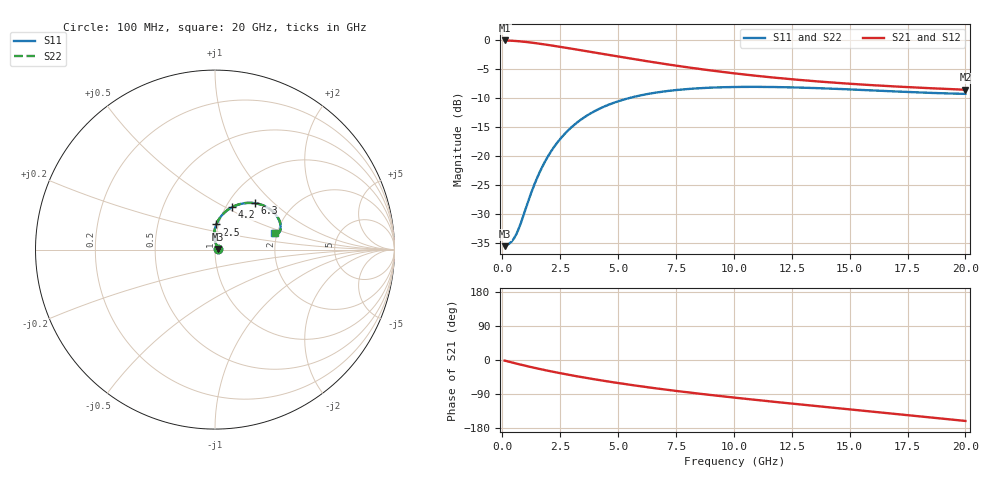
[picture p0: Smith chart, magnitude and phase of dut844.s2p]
! Touchstone file exported from HFSS 2024.1.0
!  File:  C:/UserFiles/LocalFiles/RDL_TSV_Batchsim/temp_RDL_TSV_844_1779920943.aedt
!  Generated:  06:44:06 AM May 28, 2026
!  Design:  RDL_TSV
!  Project:  temp_RDL_TSV_844_1779920943
!  Setup:  Setup1
!  Solution:  Sweep
! Variables:
!  dtsv = 10.81um
!  hbump = 3um
!  htsv = 73.97um
!  ldown = 545.13um
!  lrdl = 120.11um
!  p = 40
!  p1 = 56.52um
!  rhole = 10um
!  subl = 2115.83um
!  t = 450um
!  tdown = 4.61um
!  trdl = 2.04um
!  viad = 10um
!  wdown = 10.93um
!  wrdl = 17.5um
!  xbump = 18um
# GHz S MA R 50.000000
! Terminal data exported
! Port[1] = TM1_1_T1
! Port[2] = TM1_4_T1
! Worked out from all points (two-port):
!   200 points, 100 MHz to 20 GHz, reference 50 ohm
!   highest |S21| = -0.15 dB at 100 MHz (marker M1); lowest = -8.6 dB at 20 GHz (marker M2)
!   |S21| within 3 dB of the highest: start of sweep to 5.38 GHz
!   lowest |S11| = -35.5 dB at 100 MHz (marker M3), VSWR 1.03, Z = 51.7 + j0.286 ohm
!   |S11| at or under -10 dB: start of sweep to 5.518 GHz
!   |S22| runs from -35.5 to -8.1 dB; largest |S21 - S12| = 2.8e-14
!   S11 on the Smith chart (normalised r, x): 100 MHz: 1.03, +0.01; 2.5 GHz: 0.97, +0.28; 4.2 GHz: 1.07, +0.54; 6.3 GHz: 1.32, +0.77; 20 GHz: 1.93, +0.39
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0.1  0.01685 9.4  0.9829 -1.6  0.9829 -1.6  0.01685 9.5
! Gamma 0 0 0 0
! Port Impedance 50 0 50 0
0.4  0.01847 37.2  0.9778 -6.3  0.9778 -6.3  0.01846 37.2
0.6  0.02122 55.8  0.9719 -9.3  0.9719 -9.3  0.02121 55.9
0.8  0.02658 71.8  0.9643 -12.3  0.9643 -12.3  0.02658 71.9
1.3  0.05153 91.0  0.9397 -19.5  0.9397 -19.5  0.05158 91.0
1.6  0.07173 93.2  0.9224 -23.5  0.9224 -23.5  0.07182 93.3
2  0.1016 91.8  0.8979 -28.7  0.8979 -28.7  0.1017 91.8
2.2  0.117 90.1  0.8854 -31.2  0.8854 -31.2  0.1172 90.2
2.5  0.1402 87.1  0.8664 -34.8  0.8664 -34.8  0.1404 87.2
3  0.1777 81.4  0.8348 -40.5  0.8348 -40.5  0.178 81.5
3.5  0.2125 75.6  0.8037 -45.9  0.8037 -45.9  0.2129 75.7
4.2  0.2552 67.9  0.7616 -53.1  0.7616 -53.1  0.2557 68.0
5.2  0.3037 58.1  0.7054 -62.6  0.7054 -62.6  0.3043 58.1
6.3  0.3417 48.9  0.6499 -72.1  0.6499 -72.1  0.3425 49.0
6.8  0.3546 45.3  0.627 -76.1  0.627 -76.1  0.3554 45.4
8.4  0.3811 35.6  0.5636 -88.2  0.5636 -88.2  0.3821 35.7
10.1  0.392 27.8  0.5108 -99.8  0.5108 -99.8  0.3931 27.9
11.7  0.3916 22.3  0.4724 -110.1  0.4724 -110.1  0.3929 22.4
13.4  0.3843 18.1  0.4408 -120.6  0.4408 -120.6  0.3856 18.2
15  0.3735 15.5  0.4178 -130.3  0.4178 -130.3  0.375 15.6
16.7  0.3608 14.2  0.3985 -140.6  0.3985 -140.6  0.3623 14.2
20  0.3421 15.2  0.3711 -160.8  0.3711 -160.8  0.3436 15.2
